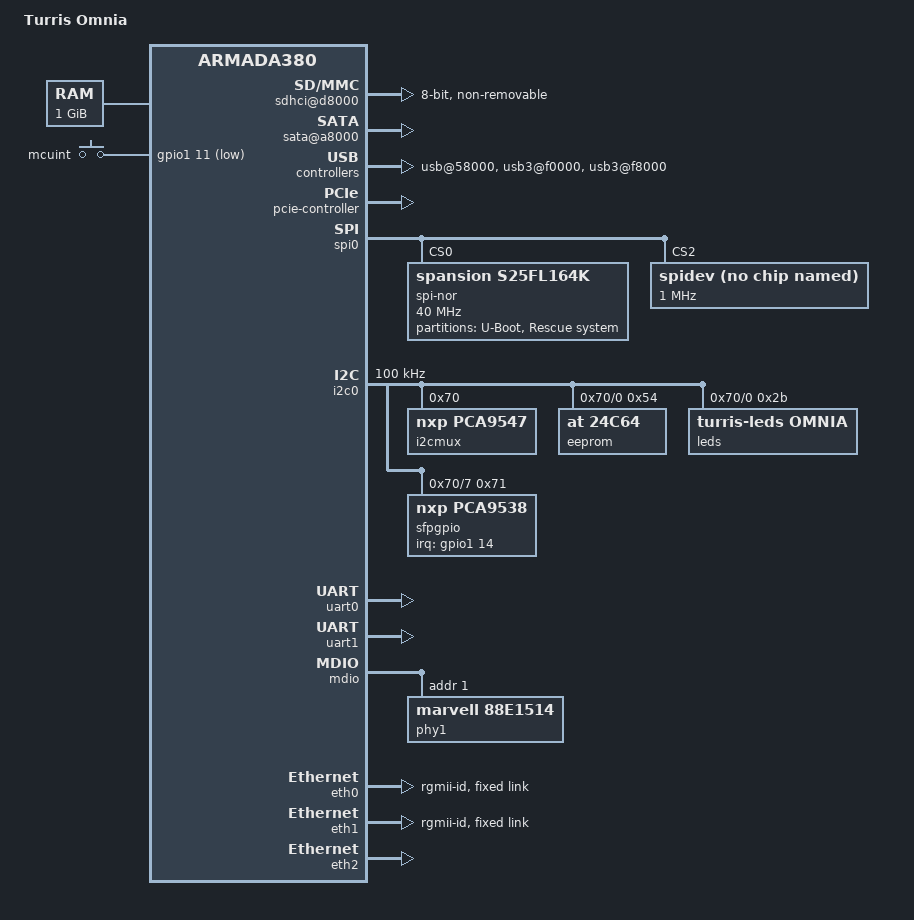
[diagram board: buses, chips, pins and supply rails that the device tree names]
/dts-v1/;

#include <dt-bindings/gpio/gpio.h>
#include <dt-bindings/input/input.h>
#include "armada-385.dtsi"

/ {
	model = "Turris Omnia";
	compatible = "marvell,armada385","marvell,armada380";

	chosen {
		bootargs = "console=ttyS0,115200";
		stdout-path = &uart0;
	};

	memory {
		device_type = "memory";
		reg = <0x00000000 0x40000000>; /* 1024 MB */
	};

	soc {
		ranges = <MBUS_ID(0xf0, 0x01) 0 0xf1000000 0x100000
			  MBUS_ID(0x01, 0x1d) 0 0xfff00000 0x100000
			  MBUS_ID(0x09, 0x19) 0 0xf1100000 0x10000
			  MBUS_ID(0x09, 0x15) 0 0xf1110000 0x10000>;

		internal-regs {
			sdhci@d8000 {
				status = "okay";
				bus-width = <8>;
				no-1-8-v;
				non-removable;
			};

			sata@a8000 {
				status = "okay";
			};

			/* USB part of the eSATA/USB 2.0 port */
			usb@58000 {
				status = "okay";
			};

			/* 2x external USB3 */
			usb3@f0000 {
				status = "okay";
			};

			usb3@f8000 {
				status = "okay";
			};
		};

		pcie-controller {
			status = "okay";

			pcie@1,0 {
				/* Port 0, Lane 0 */
				status = "okay";
			};

			pcie@2,0 {
				/* Port 2, Lane 0 */
				status = "okay";
			};

			pcie@3,0 {
				/* Port 3, Lane 0 */
				status = "okay";
			};

		};
	};

	gpio-keys {
		compatible = "gpio-keys";
		#address-cells = <1>;
		#size-cells = <0>;

		button@212 {
			label = "mcuint";
			linux,code = <BTN_MISC>;
			gpios = <&gpio1 11 GPIO_ACTIVE_LOW>;
			debounce-interval = <0>;
		};
	};

	mvsw61xx {
		status = "okay";
		compatible = "marvell,88e6176";
		reg = <0x10>;
		is-indirect;
		mii-bus = <&mdio>;
		cpu-port-0 = <5>;
		cpu-port-1 = <6>;

		/* IRQ connected to MPP45. */
		/* interrupt-parent = <&gpio1>;
		interrupts = <13 IRQ_TYPE_LEVEL_LOW>; */
	};
};

&spi0 {
	status = "okay";

	spi-nor@0 {
		compatible = "spansion,s25fl164k", "jedec,spi-nor";
		#address-cells = <1>;
		#size-cells = <1>;
		reg = <0>;
		spi-max-frequency = <40000000>;

		partition@0 {
			reg = <0x0 0x00100000>;
			label = "U-Boot";
		};
		partition@1 {
			reg = <0x00100000 0x00700000>;
			label = "Rescue system";
		};

	};
	spidev@2 {
		spi-max-frequency = <1000000>;
		reg = <2>;
		compatible = "linux,spidev";
	};
};

&i2c0 {
	pinctrl-names = "default";
	pinctrl-0 = <&i2c0_pins>;
	status = "okay";
	clock-frequency = <100000>;

	i2cmux@70 {
		compatible = "nxp,pca9547";
		#address-cells = <1>;
		#size-cells = <0>;
		reg = <0x70>;
		status = "okay";
		i2c@0 {
			#address-cells = <1>;
			#size-cells = <0>;
			reg = <0>;
			status = "okay";

			/* Config memory */
			eeprom@54 {
				compatible = "at,24c64";
				reg = <0x54>;
			};

			/* Additional device: STM-32, address 0x2a, INT on 43. */
			leds@2b {
				compatible = "turris-leds,omnia";
				reg = <0x2b>;
				#address-cells = <1>;
				#size-cells = <0>;

				led0 {
					label = "user2";
					reg = <0x0>;
				};

				led1 {
					label = "user1";
					reg = <0x1>;
				};

				led2 {
					label = "pci3";
					reg = <0x2>;
				};

				led3 {
					label = "pci2";
					reg = <0x3>;
				};

				led4 {
					label = "pci1";
					reg = <0x4>;
				};

				led5 {
					label = "wan";
					reg = <0x5>;
				};

				led6 {
					label = "lan4";
					reg = <0x6>;
				};

				led7 {
					label = "lan3";
					reg = <0x7>;
				};

				led8 {
					label = "lan2";
					reg = <0x8>;
				};

				led9 {
					label = "lan1";
					reg = <0x9>;
				};

				led10 {
					label = "lan0";
					reg = <0xa>;
				};

				led11 {
					label = "power";
					reg = <0xb>;
				};

				led12 {
					label = "all";
					reg = <0xc>;
				};
			};
		};

		i2c@1 {
			/* SATA */
			#address-cells = <1>;
			#size-cells = <0>;
			reg = <1>;
		};

		i2c@2 {
			/* PCI 1 */
			#address-cells = <1>;
			#size-cells = <0>;
			reg = <2>;
		};

		i2c@3 {
			/* PCI 0 */
			#address-cells = <1>;
			#size-cells = <0>;
			reg = <3>;
		};

		i2c@4 {
			/* SFP */
			#address-cells = <1>;
			#size-cells = <0>;
			reg = <4>;
		};

		i2c@5 {
			/* ATSHA */
			#address-cells = <1>;
			#size-cells = <0>;
			reg = <5>;
		};

		i2c@6 {
			/* User GPIO header */
			#address-cells = <1>;
			#size-cells = <0>;
			reg = <6>;
		};

		i2c@7 {
			/* SFP+ GPIO expander */
			#address-cells = <1>;
			#size-cells = <0>;
			reg = <7>;

			sfpgpio: gpio@71 {
				compatible = "nxp,pca9538";
				reg = <0x71>;
				interrupt-parent = <&gpio1>;
				interrupts = <14 IRQ_TYPE_LEVEL_LOW>;
				gpio-controller;
				#gpio-cells = <2>;
			};
		};
	};
};

&uart0 {
	pinctrl-names = "default";
	pinctrl-0 = <&uart0_pins>;
	status = "okay";
};

&uart1 {
	pinctrl-names = "default";
	pinctrl-0 = <&uart1_pins>;
	status = "okay";
};

&mdio {
	status = "okay";

	phy1: phy@1 {
		status = "okay";
		compatible = "marvell,88E1514", "marvell,88E1510", "ethernet-phy-ieee802.3-c22";
		reg = <1>;
		/* IRQ connected to MPP46. */
		/* interrupt-parent = <&gpio1>;
		interrupts = <14 IRQ_TYPE_LEVEL_LOW>; */
	};
};

&eth0 {
	status = "okay";
	pinctrl-0 = <&ge0_rgmii_pins>;
	phy-mode = "rgmii-id";

	fixed-link {
		speed = <1000>;
		full-duplex;
	};
};

&eth1 {
	status = "okay";
	pinctrl-0 = <&ge1_rgmii_pins>;
	phy-mode = "rgmii-id";

	fixed-link {
		speed = <1000>;
		full-duplex;
	};
};

&eth2 {
	status = "okay";

	phy-def {
		phy-mode = "sgmii";
		phy = <&phy1>;
	};

	phy-sfp {
		phy-mode = "sgmii";
		managed = "1000base-x";

		fixed-link {
			speed = <1000>;
			full-duplex;
		};
	};

	phy-sfp-noneg {
		phy-mode = "sgmii";
		managed = "1000base-x-noneg";

		fixed-link {
			speed = <1000>;
			full-duplex;
		};
	};

	phy-sfp-sgmii {
		phy-mode = "sgmii";
		managed = "in-band-status";

		fixed-link {
			speed = <1000>;
			full-duplex;
		};
	};
};

&pinctrl {
	user_pin: user-pin {
		marvell,pins = "mpp18", "mpp33", "mpp34", "mpp35", "mpp36",
				"mpp42", "mpp44", "mpp47", "mpp51", "mpp56";
		marvell,function = "gpio";
	};
};

